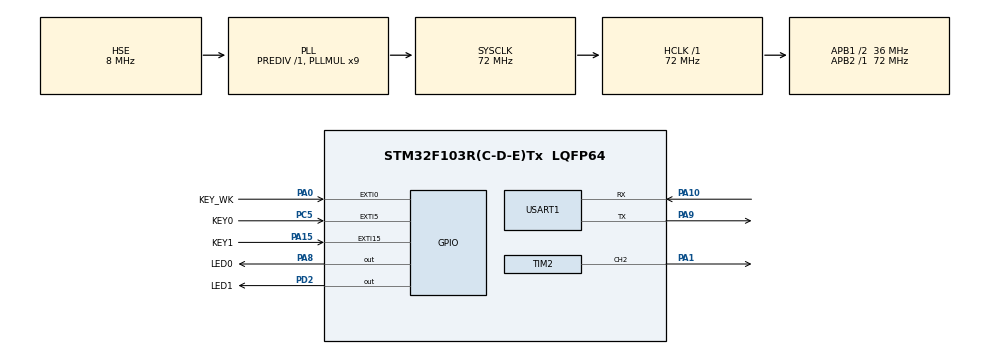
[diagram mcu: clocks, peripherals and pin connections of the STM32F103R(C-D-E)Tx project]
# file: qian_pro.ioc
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Mcu.Family=STM32F1
Mcu.Name=STM32F103R(C-D-E)Tx
Mcu.Package=LQFP64
NVIC.EXTI0_IRQn=true\:0\:0\:true\:false\:true\:true\:true
NVIC.EXTI15_10_IRQn=true\:2\:2\:true\:false\:true\:true\:true
NVIC.EXTI9_5_IRQn=true\:1\:1\:true\:false\:true\:true\:true
NVIC.PriorityGroup=NVIC_PRIORITYGROUP_2
PA0-WKUP.GPIO_Label=KEY_WK
PA0-WKUP.GPIO_ModeDefaultEXTI=GPIO_MODE_IT_FALLING
PA0-WKUP.GPIO_PuPd=GPIO_PULLDOWN
PA0-WKUP.Signal=GPXTI0
PA1.GPIO_ModeDefaultPP=GPIO_MODE_AF_PP
PA1.Signal=S_TIM2_CH2
PA10.Mode=Asynchronous
PA10.Signal=USART1_RX
PA15.GPIO_Label=KEY1
PA15.GPIO_ModeDefaultEXTI=GPIO_MODE_IT_FALLING
PA15.GPIO_PuPd=GPIO_PULLUP
PA15.Signal=GPXTI15
PA8.GPIO_Label=LED0
PA8.Signal=GPIO_Output
PA9.Mode=Asynchronous
PA9.Signal=USART1_TX
PC5.GPIO_Label=KEY0
PC5.GPIO_ModeDefaultEXTI=GPIO_MODE_IT_FALLING
PC5.GPIO_PuPd=GPIO_PULLUP
PC5.Signal=GPXTI5
PD0-OSC_IN.Mode=HSE-External-Oscillator
PD0-OSC_IN.Signal=RCC_OSC_IN
PD1-OSC_OUT.Mode=HSE-External-Oscillator
PD1-OSC_OUT.Signal=RCC_OSC_OUT
PD2.GPIO_Label=LED1
PD2.Signal=GPIO_Output
ProjectManager.HeapSize=0x200
ProjectManager.StackSize=0x400
ProjectManager.TargetToolchain=STM32CubeIDE
RCC.AHBFreq_Value=72000000
RCC.APB1CLKDivider=RCC_HCLK_DIV2
RCC.APB1Freq_Value=36000000
RCC.APB1TimFreq_Value=72000000
RCC.APB2Freq_Value=72000000
RCC.APB2TimFreq_Value=72000000
RCC.HCLKFreq_Value=72000000
RCC.PLLMUL=RCC_PLL_MUL9
RCC.PLLSourceVirtual=RCC_PLLSOURCE_HSE
RCC.SYSCLKFreq_VALUE=72000000
RCC.SYSCLKSource=RCC_SYSCLKSOURCE_PLLCLK
RCC.USBFreq_Value=72000000
SH.S_TIM2_CH2.0=TIM2_CH2,PWM Generation2 CH2
TIM2.Channel-PWM\ Generation2\ CH2=TIM_CHANNEL_2
TIM2.Period=999
TIM2.Prescaler=79
USART1.VirtualMode=VM_ASYNC
VP_SYS_VS_ND.Mode=No_Debug
board=custom

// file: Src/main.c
/* USER CODE BEGIN Header */
/**
  ******************************************************************************
  * @file           : main.c
  * @brief          : Main program body
  ******************************************************************************
  * @attention
  *
  * <h2><center>&copy; Copyright (c) 2019 STMicroelectronics.
  * All rights reserved.</center></h2>
  *
  * This software component is licensed by ST under BSD 3-Clause license,
  * the "License"; You may not use this file except in compliance with the
  * License. You may obtain a copy of the License at:
  *                        opensource.org/licenses/BSD-3-Clause
  *
  ******************************************************************************
  */
/* USER CODE END Header */

#include "main.h"
#include "tim.h"
#include "usart.h"
#include "gpio.h"

/* USER CODE BEGIN Includes */
#include "lcd.h"
#include <stdio.h>
#include <stdlib.h>
/* USER CODE END Includes */

/* USER CODE BEGIN PTD */
typedef struct Bullet{
    int x,y,vx,vy;
    int power;
    int cnt,type,isMir;
}Bullet;
typedef struct Fire{
	int cnt,fire_time,fire_num,sleep_time,move_type,enable,power,shape,biMir;
}Fire;
typedef struct Fly{
    int x,y;
    int hp;
    int cnt;
    int vx,vy;
    int fire_num;
    Fire fires[12];
    int score;
    int move_type;
}Fly;
typedef struct Hero{
	int fire_level;
    int v;
    int fire_name[10];
    int fire_state;
    char bul_name[5];
}Hero;
typedef struct Level{
	int maxTime;
	int minTime;
	int lastTime;
	int randTime;
	int maxHP;
	int minHP;
	int enemy_type_num;
	int enemy_type[10];
	int goal;
	int pos;
}LevelInfo;
typedef struct Boss{
	int max_hp,hp,T;
	int cnt;
	int x,y;
    int fire_num;

    Fire fires[10];
}Boss;

Boss boss;
typedef struct Paint{
	int draw_ori_x,draw_ori_y,draw_new_x,draw_new_y;
	float draw_size_x,draw_size_y;
	uint16_t draw_color;
}Paint;
Paint paint;

/* USER CODE END PTD */

/* USER CODE BEGIN PM */
#define MAX_BULLET_ENEMY 220
#define MAX_BULLET_HERO 100
#define MAX_FLY 20
#define SCREEN_WIDTH 240
#define SCREEN_HEIGHT 320
#define SCREEN_TOP 30
#define MAX_FLY_IN_SCREEN 4

#define BULLET_MOVE_LINE 1
#define BULLET_MOVE_XIE60 2
#define BULLET_MOVE_XIE45 3
#define BULLET_MOVE_XIE30 4
#define BULLET_MOVE_SEMICIRCLE 5

#define FLY_MOVE_QUICK 1
#define FLY_MOVE_NORMAL 2
#define FLY_MOVE_SHIFT 3
#define FLY_MOVE_CIRCLE 4

#define FIRE_SHAPE_NORMAL 0
#define FIRE_SHAPE_HEART 1

#define FIRE_SLOW_LINE 1
#define FIRE_HIGH_LINE 2
#define FIRE_MULTI_LINE60 3
#define FIRE_MULTI_LINE45 4
#define FIRE_MULTI_LINE30 5
#define FIRE_HEART 6
#define FIRE_SNAKE 7
#define FIRE_SPIRAL 8
/* USER CODE END PM */

/* USER CODE BEGIN PV */
Bullet enemy_bul[MAX_BULLET_ENEMY];
Bullet hero_bul[MAX_BULLET_HERO];
char msg[30];
Fly flys[MAX_FLY];//flys[0] is hero
int level_num;
int state; // 1 win 2 lose 3 be hit
int time;
int bul_num_e;
int bul_num_h;
int fly_num;
int move_state;
LevelInfo level_info;
Hero hero;
int key_a=0,key_b=0,key_c=0;
int score;
int myhp;
int game_cnt;
uint16_t bg_color;
/* USER CODE END PV */

void SystemClock_Config(void);

/* USER CODE BEGIN 0 */

int det(int x1, int y1, int x2, int y2){
    return x1 * y2 - x2 * y1;
}

int isCollision(int x,int y,int i){
    int fly_x = flys[i].x;
    int fly_y = flys[i].y;

    if (i == 0) {
        if (x <= fly_x+4 && x >= fly_x-4 && y <= fly_y+4 && y >= fly_y-4) {
            return 1;
        }
    } else {
        int x1 = fly_x;
        int y1 = fly_y + (int) 79*0.2f;
        int x2 = fly_x - (int) 75*0.2f;
        int y2 = fly_y - (int) 46*0.2f;
        int x3 = fly_x + (int) 75*0.2f;
        int y3 = fly_y - (int) 46*0.2f;
        if (det(x - x1, y - y1, x2 - x1, y2 - y1) <= 0
            && det(x - x2, y - y2, x3 - x2, y3 - y2) <= 0
            && det(x - x3, y - y3, x1 - x3, y1 - y3) <= 0) {
            return 1;
        }
    }

	return 0;
}
int isOutOfRange(int x,int y){
    int gap=2;
    if(y>=SCREEN_HEIGHT-gap || y<=SCREEN_TOP+gap ||x<=gap||x>=SCREEN_WIDTH-gap){
        return 1;
    }else{
        return 0;
    }
}
int changeBulletPos(int i,int isHero){
    /*int gap=10;
    if(isHero){
        if(hero_bul[i].x<=gap){
            hero_bul[i].x=SCREEN_WIDTH-gap;
        }
        if(hero_bul[i].x>=SCREEN_WIDTH-gap){
            hero_bul[i].x=gap;
        }
    }else{
        if(enemy_bul[i].x<=gap){
            enemy_bul[i].x=SCREEN_WIDTH-gap;
        }
        if(enemy_bul[i].x>=SCREEN_WIDTH-gap){
            enemy_bul[i].x=gap;
        }
    }*/
}
int changeFlyPos(int i){
    int gap=10;
    if(flys[i].x<=gap){
        flys[i].x=gap;
    }
    if(flys[i].x>=SCREEN_WIDTH-gap){
        flys[i].x=SCREEN_WIDTH-gap;
    }
    if(flys[i].y<=SCREEN_TOP+gap){
    	flys[i].y=SCREEN_TOP+gap;
    }
}

void setHeroFire(){
	for(int i=0;i<flys[0].fire_num;i++){
		flys[0].fires[i].enable=0;
		flys[0].fires[i].cnt=0;
	}
	if(hero.fire_state==0){
		flys[0].fires[0].enable=1;
		strcpy(hero.bul_name,"D");
	}else if(hero.fire_state==1){
		flys[0].fires[1].enable=1;
		strcpy(hero.bul_name,"C");
	}else if(hero.fire_state==2){
		if(hero.fire_name[2]==1){
			flys[0].fires[2].enable=1;
			strcpy(hero.bul_name,"B1");
		}else{
			flys[0].fires[6].enable=1;
			strcpy(hero.bul_name,"B2");
		}
	}else if(hero.fire_state==3){
		if(hero.fire_name[3]==1){
			flys[0].fires[0].enable=1;
			flys[0].fires[2].enable=1;
			strcpy(hero.bul_name,"A1");
		}else{
			flys[0].fires[7].enable=1;
			strcpy(hero.bul_name,"A2");
		}
	}else if(hero.fire_state==4){
		if(hero.fire_name[3]==1){
			flys[0].fires[5].enable=1;
			strcpy(hero.bul_name,"S3");
		}else if(hero.fire_name[3]==2){
			flys[0].fires[4].enable=1;
			flys[0].fires[7].enable=1;
			strcpy(hero.bul_name,"S2");
		}else{
			flys[0].fires[1].enable=1;
			flys[0].fires[2].enable=1;
			flys[0].fires[3].enable=1;
			flys[0].fires[4].enable=1;
			strcpy(hero.bul_name,"S1");
		}
	}
}

void enemy_LED() {
	HAL_GPIO_TogglePin(LED0_GPIO_Port, LED0_Pin);
	HAL_Delay(10);
	HAL_GPIO_TogglePin(LED0_GPIO_Port, LED0_Pin);
}

void hero_LED() {
	HAL_GPIO_TogglePin(LED1_GPIO_Port, LED1_Pin);
	HAL_Delay(10);
	HAL_GPIO_TogglePin(LED1_GPIO_Port, LED1_Pin);
}

//cal all bullet whether collision or out of screen
void estimate(){
	int level_flag;
    Bullet copy1[MAX_BULLET_ENEMY];
    int flag1[MAX_BULLET_ENEMY];
    Bullet copy2[MAX_BULLET_HERO];
    int flag2[MAX_BULLET_ENEMY];
    Fly copy3[MAX_FLY];
    int flag3[MAX_FLY];
    int num1=0,num2=0,num3=0;
    for(int i=0;i<bul_num_e;i++){
        flag1[i]=1;
        copy1[i]=enemy_bul[i];
        int x=enemy_bul[i].x;
        int y=enemy_bul[i].y;
        if(isCollision(x,y,0)){
        	hero_LED();
        	if(enemy_bul[i].power==0)myhp-=1;
        	else myhp-=enemy_bul[i].power;
            key_a=0; key_b=0; key_c=0;
            flag1[i]=0;
            updateInfo();
        }
        if(isOutOfRange(x,y)){
            flag1[i]=0;
        }
    }
    for(int i=0;i<bul_num_h;i++){
        flag2[i]=1;
        copy2[i]=hero_bul[i];
        int x=hero_bul[i].x;
        int y=hero_bul[i].y;
        for(int j=1;j<fly_num;j++){
            if(isCollision(x,y,j)){
            	enemy_LED();
                flys[j].hp-=1;
                flag2[i]=0;
            }
        }
        if(isOutOfRange(x,y)){
            flag2[i]=0;
        }
    }
    for(int i=1;i<fly_num;i++){
        flag3[i]=1;
        copy3[i]=flys[i];
        if(flys[i].hp<=0){
        	enemy_LED();
            flag3[i]=0;
            level_flag=0;
            srand(HAL_GetTick());
            if(score<=2 && score+flys[i].score>2){
            	hero.fire_level=2;
            	myhp+=5;
            	level_flag=1;
            }else if(score<=7 && score+flys[i].score>7){
            	hero.fire_level=3;
            	hero.fire_name[2]=rand()%2;
            	myhp+=5;
            	level_flag=1;

            }else if(score<=25 && score+flys[i].score>25){
            	hero.fire_level=4;
            	hero.fire_name[3]=rand()%2;
            	myhp+=5;
            	level_flag=1;
            }else if(score<=80 && score+flys[i].score>80){
            	hero.fire_level=5;
            	hero.fire_name[4]=rand()%3;
            	myhp+=5;
            	level_flag=1;

            }

            score+=flys[i].score;
            updateInfo();
            if(level_flag){
            	hero.fire_state=hero.fire_level-1;
            	setHeroFire();
            	sprintf(msg,"Level Up!Get%s,Hp+5",hero.bul_name);
            	LCD_ShowString(20,160, 220, 200, 24, (uint8_t*)msg);
            	HAL_Delay(1000);
            	LCD_Clear(bg_color);
                updateInfo();
            }
        }
        if(isOutOfRange(flys[i].x,flys[i].y)){
            flag3[i]=0;
        }
    }
    for(int i=0;i<bul_num_e;i++){
        if(flag1[i])enemy_bul[num1++]=copy1[i];
    }
    bul_num_e=num1;
    for(int i=0;i<bul_num_h;i++){
        if(flag2[i])hero_bul[num2++]=copy2[i];
    }
    bul_num_h=num2;
    num3=1;
    for(int i=1;i<fly_num;i++){
        if(flag3[i])flys[num3++]=copy3[i];
    }
    fly_num=num3;
}
//move all bullet
void move(int move_state){
    if(move_state==1){
        flys[0].x+=flys[0].vx;
    }else if(move_state==2){
        flys[0].x+=flys[0].vx;
    }
    for(int i=1;i<fly_num;i++){
    	move_fly(i);
    }
    for(int i=0;i<fly_num;i++){
        changeFlyPos(i);
    }
    for(int i=0;i<bul_num_e;i++){
        bullet_move(i,0);
        changeBulletPos(i,0);
    }
    for(int i=0;i<bul_num_h;i++){
        bullet_move(i,1);
        changeBulletPos(i,1);
    }
}
void bullet_move(int i,int isHero){
    int type;
    int cnt,dx=0,dy=0,dir_y;
    int dir_x=1;
    if(isHero){
        cnt=hero_bul[i].cnt;
        type=hero_bul[i].type;
        dir_y=-1;
        hero_bul[i].cnt++;
        if(hero_bul[i].isMir)dir_x=-1;
        else dir_x=1;
    }else{
        cnt=enemy_bul[i].cnt;
        type=enemy_bul[i].type;
        dir_y=1;
        enemy_bul[i].cnt++;
        if(enemy_bul[i].isMir)dir_x=-1;
        else dir_x=1;
    }

    if(type==BULLET_MOVE_LINE){
        dx=0; dy=6;
    }else if(type==BULLET_MOVE_SEMICIRCLE){
    	double angle=(cnt*20-90)*3.1415/180;
    	dx=-sin(angle)*6;
    	dy=-cos(angle)*6;
    	if((cnt*20)%360<180){
    		dy=-dy;
    	}
    }else if(type==BULLET_MOVE_XIE60){
    	dx=1; dy=6;
    }else if(type==BULLET_MOVE_XIE45){
    	dx=3; dy=6;
    }else if(type==BULLET_MOVE_XIE30){
    	dx=4; dy=6;
    }else{
    	dx=0; dy=6;
    }
    if(isHero){
        hero_bul[i].x+=dx*dir_x;
        hero_bul[i].y+=dy*dir_y;
    }else{
        enemy_bul[i].x+=dx*dir_x;
        enemy_bul[i].y+=dy*dir_y;
    }
}

void move_fly(int i){

	int t = flys[i].cnt;
	if(flys[i].move_type==FLY_MOVE_SHIFT){
		if(flys[i].cnt%30<15){
			flys[i].x += 3; flys[i].vx =3;
		}else{
			flys[i].x += -3; flys[i].vx = -3;
		}
		flys[i].y +=1; flys[i].vy= 1;
	}else if(flys[i].move_type==FLY_MOVE_CIRCLE){
		double angle=t*5*3.1415/180;
		flys[i].x+=cos(angle)*2; flys[i].vx=cos(angle)*2;
		flys[i].y+=-sin(angle)*2+1; flys[i].vy=-sin(angle)*2+1;
	}else if(flys[i].move_type==FLY_MOVE_QUICK){
		flys[i].x += 0; flys[i].vx = 0;
		flys[i].y +=3; flys[i].vy= 3;
	}else if(flys[i].move_type==FLY_MOVE_NORMAL){
		flys[i].x += 0; flys[i].vx = 0;
		flys[i].y +=1; flys[i].vy= 1;
	}else{
		flys[i].x += 0; flys[i].vx = 0;
		flys[i].y +=1; flys[i].vy= 1;
	}
	flys[i].cnt++;
}

int is_fire(Fire *fire){
	if(!fire->enable){
		return 0;
	}
	int cnt = fire->cnt%(fire->sleep_time+fire->fire_time*fire->fire_num);
	if(cnt>=fire->fire_time*fire->fire_num){
		return 0;
	}
	if(cnt%(fire->fire_time)==0){
		return 1;
	}
	return 0;
}
Bullet bullet_factory(int i,int j){
	Bullet bul;
	bul.vx = flys[i].vx;bul.vy=flys[i].vy;
	bul.cnt=0;
	bul.type=flys[i].fires[j].move_type;
	bul.power=flys[i].fires[j].power;
	return bul;
}
Fire fire_factory(int type){
	Fire fire;
	fire.cnt=0;
	fire.enable=1;
	fire.shape=FIRE_SHAPE_NORMAL;
	fire.move_type=BULLET_MOVE_LINE;
	fire.power=1;
	if(type==FIRE_SLOW_LINE){
		fire.fire_time=7;
		fire.fire_num=3;
		fire.sleep_time=20;
	}else if(type==FIRE_HIGH_LINE){
		fire.fire_time=6;
		fire.fire_num=6;
		fire.sleep_time=12;
	}else if(type==FIRE_MULTI_LINE60){
		fire.fire_time=7;
		fire.fire_num=4;
		fire.sleep_time=8;
		fire.move_type=BULLET_MOVE_XIE60;
		fire.biMir=1;
	}else if(type==FIRE_MULTI_LINE45){
		fire.fire_time=7;
		fire.fire_num=4;
		fire.sleep_time=8;
		fire.move_type=BULLET_MOVE_XIE45;
		fire.biMir=1;
	}else if(type==FIRE_MULTI_LINE30){
		fire.fire_time=7;
		fire.fire_num=4;
		fire.sleep_time=8;
		fire.move_type=BULLET_MOVE_XIE30;
		fire.biMir=1;
	}else if(type==FIRE_HEART){
		fire.fire_time=1;
		fire.fire_num=1;
		fire.sleep_time=50;
		fire.power=3;
		fire.shape=FIRE_SHAPE_HEART;
	}else if(type==FIRE_SNAKE){
		fire.fire_time=3;
		fire.fire_num=5;
		fire.sleep_time=0;
		fire.move_type=BULLET_MOVE_SEMICIRCLE;
		fire.biMir=0;
	}else if(type==FIRE_SPIRAL){
		fire.fire_time=4;
		fire.fire_num=5;
		fire.sleep_time=0;
		fire.move_type=BULLET_MOVE_SEMICIRCLE;
		fire.biMir=1;
	}else{
		fire.fire_time=5;
		fire.fire_num=3;
		fire.sleep_time=30;
	}
	return fire;
}
#define FLY_CHONGER_A 1
#define FLY_CHONGER_B 2
#define FLY_CHONGER_C 3
#define FLY_MOVER_A 4
#define FLY_MOVER_B 5
#define FLY_MOVER_C 6
#define FLY_STORYER 7
Fly fly_factory(int type){
	Fly fly;
	fly.x=0; fly.y=0;
	fly.vx=0;fly.vy=0;fly.cnt=0;
	fly.hp=1;
	if(type==FLY_CHONGER_A){
        fly.score=1; fly.move_type=FLY_MOVE_NORMAL;
		fly.fire_num=1; fly.fires[0]=fire_factory(FIRE_SLOW_LINE);
	}else if(type==FLY_CHONGER_B){
        fly.score=2; fly.move_type=FLY_MOVE_NORMAL;
		fly.fire_num=1; fly.fires[0]=fire_factory(FIRE_MULTI_LINE60);
	}else if(type==FLY_CHONGER_C){
        fly.score=3; fly.move_type=FLY_MOVE_QUICK;
		fly.fire_num=2; fly.fires[0]=fire_factory(FIRE_MULTI_LINE45);
		fly.fires[1]=fire_factory(FIRE_MULTI_LINE60);
		fly.fires[0].power=2;
		fly.fires[1].power=2;
	}else if(type==FLY_MOVER_A){
        fly.score=1; fly.move_type=FLY_MOVE_SHIFT;
		fly.fire_num=1; fly.fires[0]=fire_factory(FIRE_SLOW_LINE);
	}else if(type==FLY_MOVER_B){
        fly.score=2; fly.move_type=FLY_MOVE_SHIFT;
		fly.fire_num=1; fly.fires[0]=fire_factory(FIRE_HIGH_LINE);
	}else if(type==FLY_MOVER_C){
	    fly.score=3; fly.move_type=FLY_MOVE_SHIFT;
		fly.fire_num=1; fly.fires[0]=fire_factory(FIRE_SNAKE);
		fly.fires[0].power=2;
	}else if(type==FLY_STORYER){
	    fly.score=4; fly.move_type=FLY_MOVE_CIRCLE;
		fly.fire_num=1; fly.fires[0]=fire_factory(FIRE_SPIRAL);
		fly.fires[0].power=3;
	}else{
		fly.hp=1; fly.score=1; fly.move_type=FLY_MOVE_NORMAL;
		fly.fire_num=1; fly.fires[0]=fire_factory(FIRE_SLOW_LINE);

	}
	return fly;

}

void add_heart_bul(int index,Bullet bul){
	int xv[50]={36,31,25,17,8,5,4,7,13,19,27,32,37,41,47,55,64,67,68,65,59,53,45,40};
	int yv[50]={20,13,9,8,14,22,30,39,44,49,54,59,66,13,9,8,14,22,30,39,44,49,54,59};
	for(int i=0;i<24;i++){
		bul.x=xv[i]-35;
		bul.y=yv[i]-35;
		if(index==0){
			bul.x = bul.x+flys[index].x;
			bul.y = bul.y+flys[index].y-35;
			hero_bul[bul_num_h++]=bul;
		}else{
			bul.x = bul.x+flys[index].x;
			bul.y = -bul.y+flys[index].y+35;
			enemy_bul[bul_num_e++]=bul;
		}
	}
}
void generate_bullet(){
    for(int i=0;i<fly_num;i++){
    	for(int j=0;j<flys[i].fire_num;j++){

    		if(is_fire(&flys[i].fires[j])){
    			Bullet bul,bul2;
    			if(flys[i].fires[j].shape==0){

            		bul = bullet_factory(i,j);
            		bul.x=flys[i].x; bul.y=flys[i].y;
            		bul.isMir=0;
            		if(i==0){
            			hero_bul[bul_num_h++]=bul;
            		}else{
            			enemy_bul[bul_num_e++]=bul;
            		}
            		if(flys[i].fires[j].biMir){
            			bul2 = bullet_factory(i,j);
            			bul2.x=flys[i].x; bul2.y=flys[i].y;
            			bul2.isMir=1;
            			if(i==0){
							hero_bul[bul_num_h++]=bul2;
						}else{
							enemy_bul[bul_num_e++]=bul2;
						}
            		}
    			}else if(flys[i].fires[j].shape==FIRE_SHAPE_HEART){
    				bul_num_h=0;
    				bul_num_e=0;
    				bul = bullet_factory(i,j);
    				add_heart_bul(i,bul);
    			}

    		}
    		if(flys[i].fires[j].enable){
    			flys[i].fires[j].cnt++;
    		}
    	}
    }
}

void generate_fly(){
	int hp,type;
	if((game_cnt-level_info.lastTime)>level_info.randTime){
		if(fly_num>MAX_FLY_IN_SCREEN)return;
		srand(HAL_GetTick());
		level_info.pos%=3;
		hp=rand()%(level_info.maxHP-level_info.minHP+1)+level_info.minHP;
		type=level_info.enemy_type[rand()%level_info.enemy_type_num];
		Fly fly=fly_factory(type); fly.hp=hp; fly.score*=fly.hp;
		fly.x=rand()%80+level_info.pos*80;fly.y = SCREEN_TOP+10;
		flys[fly_num++]=fly;
		level_info.randTime=level_info.minTime+rand()%(level_info.maxTime-level_info.minTime);
		level_info.lastTime=game_cnt;
		level_info.pos++;
	}
}
void DrawMyLine(int x1,int y1,int x2,int y2){
	x1=(int)((x1-paint.draw_ori_x)*paint.draw_size_x)+paint.draw_new_x;
	y1=(int)((y1-paint.draw_ori_y)*paint.draw_size_y)+paint.draw_new_y;
	x2=(int)((x2-paint.draw_ori_x)*paint.draw_size_x)+paint.draw_new_x;
	y2=(int)((y2-paint.draw_ori_y)*paint.draw_size_y)+paint.draw_new_y;
	if(x1<=0)x1=0;else if(x1>=SCREEN_WIDTH)x1=SCREEN_WIDTH;
	if(x2<=0)x2=0;else if(x2>=SCREEN_WIDTH)x2=SCREEN_WIDTH;
	if(y1<=0)y1=0;else if(y1>=SCREEN_HEIGHT)y1=SCREEN_HEIGHT;
	if(y2<=0)y2=0;else if(y2>=SCREEN_HEIGHT)y2=SCREEN_HEIGHT;
	LCD_DrawLine(x1,y1,x2,y2,paint.draw_color);
}

void draw_fly(int x,int y,float size_x,float size_y,uint16_t color){
	paint.draw_ori_x=120; paint.draw_ori_y=185;paint.draw_new_x=x;paint.draw_new_y=y;
	paint.draw_size_x=size_x; paint.draw_size_y=size_y;
	paint.draw_color=color;
	DrawMyLine(120, 80, 115, 85);
	DrawMyLine(115, 85, 110, 140);

	DrawMyLine(120, 80, 125, 85);
	DrawMyLine(125, 85, 130, 140);

	DrawMyLine(110, 140, 80, 155);
	DrawMyLine(130, 140, 160, 155);

	DrawMyLine(80, 155, 105, 150);
	DrawMyLine(160, 155, 135, 150);

	DrawMyLine(105, 150, 50, 185);
	DrawMyLine(135, 150, 190, 185);

	DrawMyLine(50, 185, 45, 205);
	DrawMyLine(190, 185, 195, 205);

	DrawMyLine(45, 205, 105, 190);
	DrawMyLine(195, 205, 135, 190);

	DrawMyLine(105, 190, 105, 200);
	DrawMyLine(135, 190, 135, 200);

	DrawMyLine(105, 200, 70, 220);
	DrawMyLine(135, 200, 170, 220);

	DrawMyLine(70, 220, 75, 230);
	DrawMyLine(170, 220, 165, 230);

	DrawMyLine(75, 230, 105, 225);
	DrawMyLine(165, 230, 135, 225);

	DrawMyLine(107, 185, 107, 235);
	DrawMyLine(133, 185, 133, 235);

	DrawMyLine(115, 185, 115, 235);
	DrawMyLine(125, 185, 125, 235);

	DrawMyLine(107, 185, 111, 175);
	DrawMyLine(111, 175, 115, 185);
	DrawMyLine(133, 185, 129, 175);
	DrawMyLine(129, 175, 125, 185);

	DrawMyLine(107, 235, 111, 245);
	DrawMyLine(111, 245, 115, 235);
	DrawMyLine(133, 235, 129, 245);
	DrawMyLine(129, 245, 125, 235);
}
void draw_fly_simple(int x,int y,float size_x,float size_y,uint16_t color){
	paint.draw_ori_x=120; paint.draw_ori_y=185;paint.draw_new_x=x;paint.draw_new_y=y;
	paint.draw_size_x=size_x; paint.draw_size_y=size_y;
	paint.draw_color=color;
	DrawMyLine(120,106,45,231);
	DrawMyLine(120,106,195,231);
	DrawMyLine(45,231,195,231);
	/*DrawMyLine(115,85,125,85);
	DrawMyLine(115, 85, 110, 140);
	DrawMyLine(125, 85, 130, 140);

	DrawMyLine(110, 140, 50, 185);
	DrawMyLine(130, 140, 190, 185);

	DrawMyLine(50, 185, 45, 205);
	DrawMyLine(190, 185, 195, 205);

	DrawMyLine(45, 205, 105, 190);
	DrawMyLine(195, 205, 135, 190);

	DrawMyLine(105, 190, 105, 200);
	DrawMyLine(135, 190, 135, 200);

	DrawMyLine(105, 200, 70, 220);
	DrawMyLine(135, 200, 170, 220);

	DrawMyLine(70, 220, 75, 230);
	DrawMyLine(170, 220, 165, 230);

	DrawMyLine(75, 230,165,230);*/

}
void draw_bullet(int x,int y,uint16_t color){
	LCD_Fill(x-2, y-2, x+2, y+2,color);
}
void draw_screen(){
	draw_fly(flys[0].x,flys[0].y,0.22f,0.22f,BLACK);
	LCD_Fill(flys[0].x-4,flys[0].y-4,flys[0].x+4,flys[0].y+4,RED);
	for(int i=1;i<fly_num;i++){
		uint16_t color =GRAY;
		if(flys[i].hp==5)color=RED;
		else if(flys[i].hp==4)color=MAGENTA;
		else if(flys[i].hp==3)color=BLUE;
		else if(flys[i].hp==2)color=LIGHTBLUE;
		else if(flys[i].hp==1)color=GRAY;
        draw_fly(flys[i].x,flys[i].y,0.2f,-0.2f,color);
		//draw_fly_simple(flys[i].x,flys[i].y,0.2f,-0.2f,color);
	}
	for(int i=0;i<bul_num_e;i++){
		uint16_t color=BLACK;
		if(enemy_bul[i].power==1)color =GRAYBLUE;
		else if(enemy_bul[i].power==2)color =BLUE;
		else if(enemy_bul[i].power==3)color =RED;
        draw_bullet(enemy_bul[i].x,enemy_bul[i].y,color);
	}
	for(int i=0;i<bul_num_h;i++){
		uint16_t color=BLACK;
		if(hero_bul[i].power==3){
			color=RED;
		}
        draw_bullet(hero_bul[i].x,hero_bul[i].y,color);
	}
}
void clear_screen(){
    for(int i=0;i<bul_num_e;i++){
        draw_bullet(enemy_bul[i].x,enemy_bul[i].y,bg_color);
	}
	for(int i=0;i<bul_num_h;i++){
        draw_bullet(hero_bul[i].x,hero_bul[i].y,bg_color);
	}

	draw_fly(flys[0].x,flys[0].y,0.22f,0.22f,bg_color);
	LCD_Fill(flys[0].x-4,flys[0].y-4,flys[0].x+4,flys[0].y+4,bg_color);
	for(int i=1;i<fly_num;i++){
        draw_fly(flys[i].x,flys[i].y,0.2f,-0.2f,bg_color);
        //draw_fly_simple(flys[i].x,flys[i].y,0.2f,-0.2f,bg_color);
	}
}

void control(){
    if(key_a==1 && key_c==0)move_state=1;// 1 left ,2 right
    else if(key_c==1 && key_a==0)move_state=2;
    else move_state=0;
    generate_fly();
    generate_bullet();
    move(move_state);
    estimate();
    change_level();
}
void BossControl(){
    if(key_a==1 && key_c==0)move_state=1;// 1 left ,2 right
    else if(key_c==1 && key_a==0)move_state=2;
    else move_state=0;
    BossAction();
    generate_bullet();
    move(move_state);
    estimate();
    estimateBoss();
}
int isHitBoss(int x,int y){
	int x1=boss.x,x2=boss.x-60,x3=boss.x,x4=boss.x+60;
	int y1=boss.y-30,y2=boss.y,y3=boss.y+30,y4=boss.y;
	if((boss.x-x)*(boss.x-x)+(boss.y-y)*(boss.y-y)<15*15){
		return 2;
	}else if(det(x1-x,y1-y,x2-x,y2-y)<0 &&det(x2-x,y2-y,x3-x,y3-y)<0&&det(x3-x,y3-y,x4-x,y4-y)<0&&det(x4-x,y4-y,x1-x,y1-y)<0){
		return 1;
	}
	return 0;
return 0;
}
void estimateBoss(){
	    Bullet copy2[MAX_BULLET_HERO];
	    int flag2[MAX_BULLET_ENEMY];
	    int num2=0;
	    for(int i=0;i<bul_num_h;i++){
	        flag2[i]=1;
	        copy2[i]=hero_bul[i];
	        int x=hero_bul[i].x;
	        int y=hero_bul[i].y;
			if(isHitBoss(x,y)==1){
				boss.hp-=1;
				updateBossHp();
				flag2[i]=0;
			}else if(isHitBoss(x,y)==2){
				boss.hp-=5;
				updateBossHp();
				flag2[i]=0;
			}
	        if(isOutOfRange(x,y)){
	            flag2[i]=0;
	        }
	    }
	    for(int i=0;i<bul_num_h;i++){
	        if(flag2[i])hero_bul[num2++]=copy2[i];
	    }
	    bul_num_h=num2;
}

void BossAction(){
	int T=boss.T;
	int r=boss.cnt%(4*T);
	int r2=boss.cnt%(48*T);
	if(r2==16*T){
		LCD_Clear(BLACK);
		bg_color=BLACK;
		updateInfo();
	}else if(r2==0){
		LCD_Clear(WHITE);
		bg_color=WHITE;
		updateInfo();
	}
	if(r2>=16*T){
		if(r2%5==0&&r2<32*T){
			for(int i=10;i<SCREEN_WIDTH;i+=40){
				Bullet bul;
				bul.cnt=0; bul.power=3; bul.type=BULLET_MOVE_SEMICIRCLE;
				bul.vx=0;bul.vy=0; bul.x=i; bul.y=SCREEN_TOP+10;
				enemy_bul[bul_num_e++]=bul;
			}
			if(r2%10==0){
				Bullet bul;bul.cnt=0; bul.power=3; bul.type=BULLET_MOVE_LINE;
				bul.vx=0;bul.vy=0; bul.x=6; bul.y=SCREEN_TOP+10;
				enemy_bul[bul_num_e++]=bul;
				bul.vx=0;bul.vy=0; bul.x=15; bul.y=SCREEN_TOP+10;
				enemy_bul[bul_num_e++]=bul;
				bul.vx=0;bul.vy=0; bul.x=24; bul.y=SCREEN_TOP+10;
				enemy_bul[bul_num_e++]=bul;
				bul.vx=0;bul.vy=0; bul.x=SCREEN_WIDTH-5; bul.y=SCREEN_TOP+10;
				enemy_bul[bul_num_e++]=bul;
				bul.vx=0;bul.vy=0; bul.x=SCREEN_WIDTH-11; bul.y=SCREEN_TOP+10;
				enemy_bul[bul_num_e++]=bul;
			}
		}
	}else if(r2<12*T){
		if(r2%6==0){
			Bullet bul;
			bul.cnt=0; bul.power=3;bul.type=BULLET_MOVE_XIE60;
			bul.vx=0;bul.vy=0; bul.x=boss.x; bul.y=boss.y; bul.isMir=0;
			enemy_bul[bul_num_e++]=bul;
			bul.isMir=1;
			enemy_bul[bul_num_e++]=bul;
		}

	}
	if(r<T){
		boss.x-=8;
		boss.y+=5;
	}else if(r<2*T){
		boss.x+=8;
		boss.y+=5;
	}else if(r<3*T){
		boss.x+=8;
		boss.y-=5;
	}else{
		boss.x-=8;
		boss.y-=5;
	}

	boss.cnt++;
}

void drawBoss(){
	int x=boss.x;
	int y=boss.y;
	paint.draw_ori_x=0;paint.draw_ori_y=0;paint.draw_new_x=0;paint.draw_new_y=0;
	paint.draw_size_x=1.0f;paint.draw_size_y=1.0f;
	paint.draw_color=BLACK;
	DrawMyLine(x,y-30,x+60,y);
	DrawMyLine(x,y-30,x-60,y);
	DrawMyLine(x,y+30,x-60,y);
	DrawMyLine(x,y+30,x+60,y);

	if(boss.hp*2>boss.max_hp){
		LCD_Draw_Circle(x,y,15,BLACK);
		LCD_Draw_Circle(x,y,11,BLACK);
		LCD_Draw_Circle(x,y,7,BLACK);
		LCD_Draw_Circle(x,y,3,BLACK);
	}else{
		LCD_Draw_Circle(x,y,15,RED);
		LCD_Draw_Circle(x,y,11,RED);
		LCD_Draw_Circle(x,y,7,RED);
		LCD_Draw_Circle(x,y,3,RED);
	}

}
void clearBoss(){
	int x=boss.x;
	int y=boss.y;
	paint.draw_ori_x=0;paint.draw_ori_y=0;paint.draw_new_x=0;paint.draw_new_y=0;
	paint.draw_size_x=1.0f;paint.draw_size_y=1.0f;
	paint.draw_color=bg_color;
	DrawMyLine(x,y-30,x+60,y);
	DrawMyLine(x,y-30,x-60,y);
	DrawMyLine(x,y+30,x-60,y);
	DrawMyLine(x,y+30,x+60,y);
	LCD_Draw_Circle(x,y,15,bg_color);
	LCD_Draw_Circle(x,y,11,bg_color);
	LCD_Draw_Circle(x,y,7,bg_color);
	LCD_Draw_Circle(x,y,3,bg_color);
}

void HAL_GPIO_EXTI_Callback(uint16_t GPIO_Pin) {
	switch (GPIO_Pin) {
		case KEY_WK_Pin:
			key_a = 1; key_b = key_c = 0;
			flys[0].vx=-hero.v;
			break;
		case KEY0_Pin:
			if (HAL_GPIO_ReadPin(KEY0_GPIO_Port, KEY0_Pin) == GPIO_PIN_RESET) {
				key_c = 1; key_a = key_b = 0;
				flys[0].vx=hero.v;
			}
			break;
		case KEY1_Pin:
			if (HAL_GPIO_ReadPin(KEY1_GPIO_Port, KEY1_Pin) == GPIO_PIN_RESET) {
				hero.fire_state++;
				hero.fire_state%=hero.fire_level;
				setHeroFire();
				key_b = 1; key_a = key_c = 0;
				flys[0].vx=0;
				updateInfo();
				HAL_Delay(50);
			}
			break;
		default:
			key_a=0; key_b=0; key_c=0;
	}
//	sprintf(msg,"%d,%d,%d",key_a,key_b,key_c);
//		LCD_ShowString(30, 260, 200, 24, 24, (uint8_t*) msg);

}
void updateBossHp(){
	LCD_Fill(0,SCREEN_TOP-5,SCREEN_WIDTH,SCREEN_TOP+5,bg_color);
	if(boss.hp>=0&&boss.max_hp>0){
		LCD_Fill(0,SCREEN_TOP-5,boss.hp*SCREEN_WIDTH/boss.max_hp,SCREEN_TOP+5,RED);
	}
}
void updateInfo(){
	sprintf(msg,"Lv%d G:%d Hp:%d %s",level_num,score,myhp,hero.bul_name);
	LCD_ShowString(0, 0, 200, SCREEN_TOP, 24, (uint8_t*)msg);
	updateBossHp();

}
void init_game(){
	hero.fire_level=1;
	hero.fire_name[0]=0;
	hero.fire_state=0;
	hero.v=3;
	myhp=2;
	level_num=1;
	score=0;
	boss.hp=0;
	bg_color=WHITE;
	HAL_GPIO_WritePin(GPIOA, GPIO_PIN_8, GPIO_PIN_SET);
	HAL_GPIO_WritePin(GPIOD, GPIO_PIN_2, GPIO_PIN_SET);

}
void init_boss(){
	boss.cnt=0;
	boss.max_hp=400;
	boss.hp=boss.max_hp;
	boss.x=120;
	boss.y=SCREEN_TOP+45;
	boss.T=8;

}
void init_level(int level_num){
	HAL_GPIO_WritePin(GPIOA, GPIO_PIN_8, GPIO_PIN_SET);
	HAL_GPIO_WritePin(GPIOD, GPIO_PIN_2, GPIO_PIN_SET);

    bul_num_e=0;
    bul_num_h=0;
    fly_num=0;

    level_info.maxTime=80;
    level_info.minTime=50;
    level_info.randTime=10;
    level_info.lastTime=0;

    if(level_num==1){
    	level_info.maxHP=2;
    	level_info.minHP=1;
    	level_info.enemy_type_num=2;
    	level_info.enemy_type[0]=FLY_CHONGER_A;
    	level_info.enemy_type[1]=FLY_MOVER_A;
    	level_info.goal=8;
    }else if(level_num==2){
    	level_info.maxHP=4;
    	level_info.minHP=2;
    	level_info.enemy_type_num=4;
    	level_info.enemy_type[0]=FLY_CHONGER_A;
    	level_info.enemy_type[1]=FLY_MOVER_A;
    	level_info.enemy_type[2]=FLY_CHONGER_B;
    	level_info.enemy_type[3]=FLY_MOVER_B;
    	level_info.goal=40;
    }else if(level_num==3){
    	level_info.maxHP=5;
    	level_info.minHP=3;
    	level_info.enemy_type_num=5;
    	level_info.enemy_type[0]=FLY_CHONGER_B;
    	level_info.enemy_type[1]=FLY_MOVER_B;
    	level_info.enemy_type[2]=FLY_CHONGER_C;
    	level_info.enemy_type[3]=FLY_MOVER_C;
    	level_info.enemy_type[4]=FLY_STORYER;
    	level_info.goal=150;
    }else if(level_num==4){
    	state=5;
    	init_boss();
    }else{
    	level_info.maxHP=2;
    	level_info.minHP=1;
    	level_info.enemy_type_num=2;
    	level_info.enemy_type[0]=FLY_CHONGER_A;
    	level_info.enemy_type[1]=FLY_MOVER_A;
    	level_info.goal=10;
    }
	Fly fly = fly_factory(1);
	fly.x=120; fly.y=SCREEN_HEIGHT-30;
	fly.fire_num=8;
	fly.fires[0]=fire_factory(FIRE_SLOW_LINE);
	fly.fires[1]=fire_factory(FIRE_HIGH_LINE);
	fly.fires[2]=fire_factory(FIRE_MULTI_LINE60);
	fly.fires[3]=fire_factory(FIRE_MULTI_LINE45);
	fly.fires[4]=fire_factory(FIRE_MULTI_LINE30);
	fly.fires[5]=fire_factory(FIRE_HEART);
	fly.fires[6]=fire_factory(FIRE_SNAKE);
	fly.fires[7]=fire_factory(FIRE_SPIRAL);
	flys[0]=fly;
	fly_num=1;
	setHeroFire();
    game_cnt=0;
    updateInfo();
}

void change_level(){
	if(game_cnt%10==0){
		if(level_info.maxTime>30)level_info.maxTime--;
		if(level_info.minTime>20)level_info.minTime--;
	}
}
/* USER CODE END 0 */

int main(void)
{

  /* MCU Configuration--------------------------------------------------------*/

  /* Reset of all peripherals, Initializes the Flash interface and the Systick. */
  HAL_Init();

  /* Configure the system clock */
  SystemClock_Config();

  /* USER CODE BEGIN SysInit */
  LCD_Init();
  /* USER CODE END SysInit */

  /* Initialize all configured peripherals */
  MX_GPIO_Init();
  MX_USART1_UART_Init();
  MX_TIM2_Init();
  /* USER CODE BEGIN 2 */
//  HAL_UART_Receive_IT(&huart1, (uint8_t *)rxBuffer, 1);

  /* USER CODE END 2 */

  /* Infinite loop */
  /* USER CODE BEGIN WHILE */
  state=1;key_a=0; key_b=0; key_c=0;
  char msg[30];
  init_game();
  while (1)
  {//bul_num_e,bul_num_h,fly_num,
	if(state==1){
		HAL_GPIO_WritePin(GPIOA, GPIO_PIN_8, GPIO_PIN_RESET);
		HAL_GPIO_WritePin(GPIOD, GPIO_PIN_2, GPIO_PIN_RESET);
		draw_fly(120,185,1,1,RED);
		LCD_ShowString(30, 40, 200, 24, 24, (uint8_t*) "Aircraft Battle");
		LCD_ShowString(30, 260, 200, 24, 24, (uint8_t*) "Start");
		LCD_ShowString(150, 260, 200, 24, 24, (uint8_t*) "Exit");
		if(key_a==1){
			state=2;
			key_a=0; key_b=0; key_c=0;
            LCD_Clear(WHITE);
            init_level(level_num);
		}
	}else if(state==2){
		game_cnt++;
		control();
		draw_screen();
		HAL_Delay(80);
		clear_screen();
		if(score>level_info.goal){
			state=4;
			key_a=0; key_b=0; key_c=0;
			LCD_Clear(WHITE);
		}else if(myhp<=0){
			state=3;
			key_a=0; key_b=0; key_c=0;
			LCD_Clear(WHITE);
		}
	}else if(state==3){
		HAL_GPIO_WritePin(GPIOA, GPIO_PIN_8, GPIO_PIN_RESET);
		HAL_GPIO_WritePin(GPIOD, GPIO_PIN_2, GPIO_PIN_RESET);
		draw_fly(120,185,1,1,GRAY);
		LCD_ShowString(30, 40, 200, 24, 24, (uint8_t*) "You are loser!");
		LCD_ShowString(30, 260, 200, 24, 24, (uint8_t*) "Restart");
		LCD_ShowString(150, 260, 200, 24, 24, (uint8_t*) "Exit");
		play_mus();
		if(key_a==1){
			init_game();
			level_num=1;
			state=2;
			key_a=0; key_b=0; key_c=0;
            LCD_Clear(WHITE);
            init_level(level_num);
		}else if(key_b==1){
			state=1;
			key_a=0; key_b=0; key_c=0;
            LCD_Clear(WHITE);

		}
	}else if(state==4){
		HAL_GPIO_WritePin(GPIOA, GPIO_PIN_8, GPIO_PIN_RESET);
		HAL_GPIO_WritePin(GPIOD, GPIO_PIN_2, GPIO_PIN_RESET);
		draw_fly(120,185,1,1,RED);
		LCD_ShowString(30, 40, 200, 24, 24, (uint8_t*) "Aircraft Battle");
		LCD_ShowString(30, 260, 200, 24, 24, (uint8_t*) "Next Lv ");
		LCD_ShowString(150, 260, 200, 24, 24, (uint8_t*) "Exit");
			if(key_a==1){
				level_num++;
				state=2;
				key_a=0; key_b=0; key_c=0;
	            LCD_Clear(WHITE);
	            init_level(level_num);

			}else if(key_b==1){
				state=1;
				key_a=0; key_b=0; key_c=0;
	            LCD_Clear(WHITE);
			}
	}else if(state==5){
		draw_screen();
		drawBoss();
		HAL_Delay(80);
		clear_screen();
		clearBoss();
		game_cnt++;
		BossControl();
		if(boss.hp<=0){
			state=6;
			key_a=0; key_b=0; key_c=0;
			LCD_Clear(WHITE);
		}else if(myhp<=0){
			state=3;
			key_a=0; key_b=0; key_c=0;
			LCD_Clear(WHITE);
		}
	}else if(state==6){
		HAL_GPIO_WritePin(GPIOA, GPIO_PIN_8, GPIO_PIN_RESET);
		HAL_GPIO_WritePin(GPIOD, GPIO_PIN_2, GPIO_PIN_RESET);
		draw_fly(120,185,1,1,RED);
		LCD_ShowString(30, 40, 200, 24, 24, (uint8_t*) "You are winner!");
		LCD_ShowString(30, 260, 200, 24, 24, (uint8_t*) "Again");
		LCD_ShowString(150, 260, 200, 24, 24, (uint8_t*) "Exit");
		if(key_a==1){
			init_game();
			level_num=1;
			state=2;
			key_a=0; key_b=0; key_c=0;
            LCD_Clear(WHITE);
            init_level(level_num);
		}else if(key_b==1){
			state=1;
			init_game();
			key_a=0; key_b=0; key_c=0;
            LCD_Clear(WHITE);

		}
	}

    /* USER CODE END WHILE */

  }
}

void SystemClock_Config(void)
{
  RCC_OscInitTypeDef RCC_OscInitStruct = {0};
  RCC_ClkInitTypeDef RCC_ClkInitStruct = {0};

  /** Initializes the CPU, AHB and APB busses clocks
  */
  RCC_OscInitStruct.OscillatorType = RCC_OSCILLATORTYPE_HSE;
  RCC_OscInitStruct.HSEState = RCC_HSE_ON;
  RCC_OscInitStruct.HSEPredivValue = RCC_HSE_PREDIV_DIV1;
  RCC_OscInitStruct.HSIState = RCC_HSI_ON;
  RCC_OscInitStruct.PLL.PLLState = RCC_PLL_ON;
  RCC_OscInitStruct.PLL.PLLSource = RCC_PLLSOURCE_HSE;
  RCC_OscInitStruct.PLL.PLLMUL = RCC_PLL_MUL9;
  if (HAL_RCC_OscConfig(&RCC_OscInitStruct) != HAL_OK)
  {
    Error_Handler();
  }
  /** Initializes the CPU, AHB and APB busses clocks
  */
  RCC_ClkInitStruct.ClockType = RCC_CLOCKTYPE_HCLK|RCC_CLOCKTYPE_SYSCLK
                              |RCC_CLOCKTYPE_PCLK1|RCC_CLOCKTYPE_PCLK2;
  RCC_ClkInitStruct.SYSCLKSource = RCC_SYSCLKSOURCE_PLLCLK;
  RCC_ClkInitStruct.AHBCLKDivider = RCC_SYSCLK_DIV1;
  RCC_ClkInitStruct.APB1CLKDivider = RCC_HCLK_DIV2;
  RCC_ClkInitStruct.APB2CLKDivider = RCC_HCLK_DIV1;

  if (HAL_RCC_ClockConfig(&RCC_ClkInitStruct, FLASH_LATENCY_2) != HAL_OK)
  {
    Error_Handler();
  }
}

void Error_Handler(void)
{
}

/************************ (C) COPYRIGHT STMicroelectronics *****END OF FILE****/
